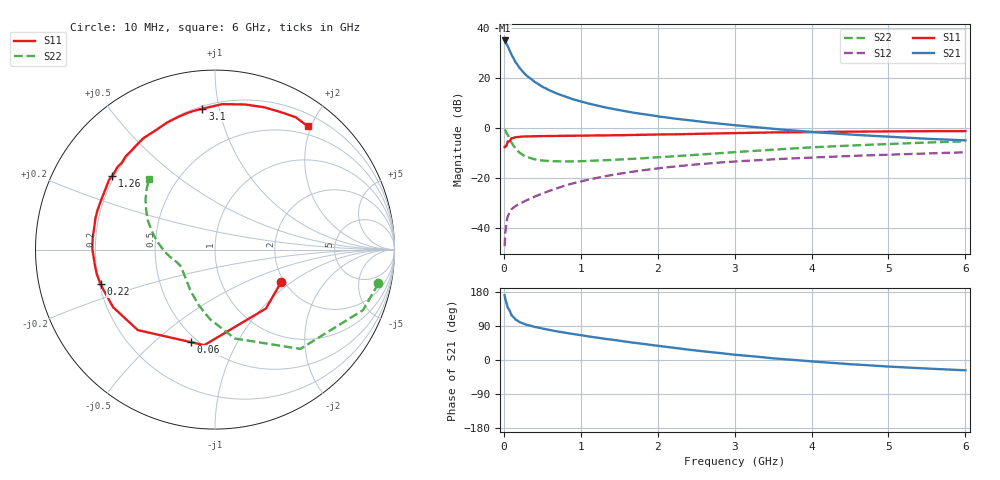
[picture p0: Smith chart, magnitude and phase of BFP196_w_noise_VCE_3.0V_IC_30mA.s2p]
! Infineon Technologies  Discrete & RF Semiconductors
! BFP196
! VCE = 3.0 V,  IC =  30mA
! Common Emitter S-Parameters:  Jan 2016
# GHz  S  MA  R  50
!  f  S11  S21  S12  S22
! GHz  MAG  ANG  MAG  ANG  MAG  ANG  MAG  ANG
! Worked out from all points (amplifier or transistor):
!   210 points, 10 MHz to 6 GHz, reference 50 ohm
!   highest |S21| = 35.0 dB at 10 MHz (marker M1)
!   |S21| within 3 dB of that: start of sweep to 61.54 MHz
!   unconditionally stable (mu >= 1): 548.6 MHz to 4.334 GHz
!   at 185 MHz: K = 0.59, MSG = 27.8 dB, |S12| = -30.7 dB
!   at 1.52 GHz: K = 1.10, MAG = 10.7 dB, |S12| = -18.3 dB
!   at 6 GHz: K = 0.98, MSG = 2.4 dB, |S12| = -9.8 dB
!   lowest NFmin = 1.40 dB at 500 MHz
!   S11 on the Smith chart (normalised r, x): 10 MHz: 1.92, -0.84; 60 MHz: 0.46, -0.67; 220 MHz: 0.21, -0.14; 1.26 GHz: 0.19, +0.31; 3.1 GHz: 0.21, +0.89; 6 GHz: 0.37, +1.95
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0.01  0.4106 -26.4  56.02 170.5  0.0043 79.7  0.9299 -11.7
0.02  0.4339 -49.1  53.02 160.5  0.0082 72.2  0.8912 -22.2
0.05  0.5358 -96.4  43.34 138.6  0.017 57.5  0.7297 -49.3
0.06  0.5327 -104.5  40.15 135.7  0.0183 54.9  0.6749 -53.4
0.1  0.6214 -133.8  28.99 117.8  0.0237 47.3  0.5073 -77.5
0.15  0.6522 -150.5  20.84 107.0  0.0272 44.9  0.3883 -94.2
0.2  0.6615 -160.6  16.16 100.4  0.0301 44.9  0.3243 -106.0
0.22  0.6648 -163.3  14.9 98.8  0.0312 45.6  0.3073 -109.4
0.26  0.6724 -168.2  12.61 95.3  0.0335 47.3  0.2795 -116.5
0.3  0.6746 -172.2  10.96 92.6  0.0359 49.7  0.2626 -121.9
0.4  0.6832 179.8  8.324 87.3  0.0421 52.4  0.2349 -132.5
0.5  0.6844 175.0  6.66 83.0  0.0485 54.7  0.2222 -139.8
0.6  0.6837 169.8  5.565 78.9  0.0555 56.5  0.2164 -144.9
0.7  0.6889 165.1  4.791 75.0  0.0626 57.2  0.2141 -148.6
1.02  0.6951 152.8  3.307 64.8  0.0863 57.1  0.2157 -157.0
1.26  0.7053 144.4  2.687 57.6  0.1037 55.7  0.2227 -161.2
1.6  0.7188 134.0  2.116 48.0  0.1281 52.3  0.2373 -166.0
2.02  0.738 122.0  1.686 37.1  0.1561 47.0  0.2587 -172.5
3.1  0.7883 95.1  1.094 12.2  0.2169 32.5  0.3338 170.0
4.1  0.827 76.9  0.808 -5.2  0.2586 20.2  0.4149 155.1
5.1  0.8515 63.4  0.652 -18.3  0.2945 9.1  0.4822 143.2
6  0.8602 53.1  0.562 -27.2  0.3246 -0.9  0.5381 132.8
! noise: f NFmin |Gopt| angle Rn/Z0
0.5  1.4  0.4  -173  0.08
0.9  1.6  0.5  -166  0.08
1.5  2.4  0.61  -150  0.14
2  2.9  0.71  -129  0.2
